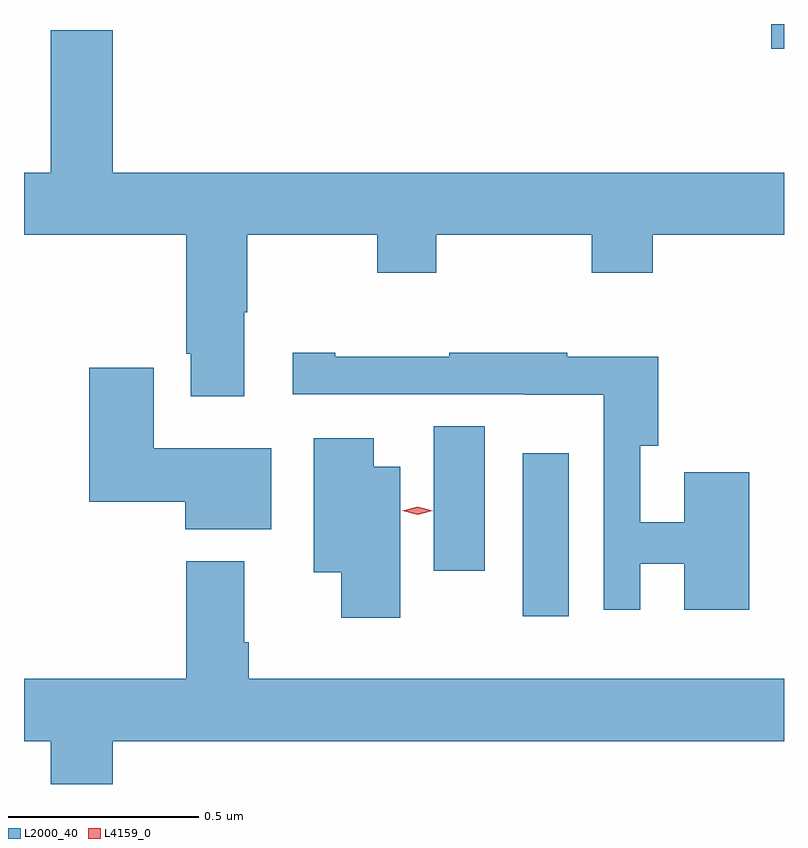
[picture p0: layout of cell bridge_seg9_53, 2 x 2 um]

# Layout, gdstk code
import gdstk
lib = gdstk.Library(unit=1e-6, precision=1e-09)
def R(c, l, rs):  # rectangles x0, y0, x1, y1
    for r in rs: c.add(gdstk.rectangle(r[:2], r[2:], *l))
def P(c, l, *ps):  # polygons
    for p in ps: c.add(gdstk.Polygon(p, *l))
L2000_40 = (2000, 40)
L4159_0 = (4159, 0)

bridge_seg9_53 = lib.new_cell('bridge_seg9_53')
R(bridge_seg9_53, L2000_40, [(1101.314,1184.76,1101.436,1185.19), (1101.08,1184.88,1101.214,1185.26), (1101.968,1186.254,1102.002,1186.319)])
P(bridge_seg9_53, L2000_40, [(1100.581,1185.56),(1100.589,1185.56),(1100.589,1185.764),(1100.932,1185.764),(1100.932,1185.665),(1101.087,1185.665),(1101.087,1185.764),(1101.496,1185.764),(1101.496,1185.665),(1101.656,1185.665),(1101.656,1185.764),(1102.002,1185.764),(1102.002,1185.928),(1100.236,1185.928),(1100.236,1186.303),(1100.072,1186.303),(1100.072,1185.928),(1100.002,1185.928),(1100.002,1185.764),(1100.429,1185.764),(1100.429,1185.451),(1100.441,1185.451),(1100.441,1185.339),(1100.581,1185.339)],
  [(1101.624,1184.898),(1101.74,1184.898),(1101.74,1184.778),(1101.911,1184.778),(1101.911,1185.139),(1101.74,1185.139),(1101.74,1185.008),(1101.624,1185.008),(1101.624,1185.209),(1101.671,1185.209),(1101.671,1185.444),(1101.431,1185.444),(1101.431,1185.454),(1101.121,1185.454),(1101.121,1185.444),(1100.821,1185.444),(1100.821,1185.454),(1100.709,1185.454),(1100.709,1185.345),(1101.318,1185.345),(1101.318,1185.344),(1101.528,1185.344),(1101.528,1184.778),(1101.624,1184.778)],
  [(1100.653,1185.202),(1100.344,1185.202),(1100.344,1185.415),(1100.174,1185.415),(1100.174,1185.062),(1100.426,1185.062),(1100.426,1184.99),(1100.653,1184.99)],
  [(1100.992,1185.154),(1100.923,1185.154),(1100.923,1185.229),(1100.765,1185.229),(1100.765,1184.876),(1100.837,1184.876),(1100.837,1184.757),(1100.992,1184.757)],
  [(1100.236,1184.432),(1102.002,1184.432),(1102.002,1184.596),(1100.594,1184.596),(1100.594,1184.692),(1100.581,1184.692),(1100.581,1184.905),(1100.429,1184.905),(1100.429,1184.596),(1100.002,1184.596),(1100.002,1184.432),(1100.072,1184.432),(1100.072,1184.319),(1100.236,1184.319)])
P(bridge_seg9_53, L4159_0, [(1101.038,1185.028),(1100.998,1185.038),(1100.998,1185.038),(1100.998,1185.038),(1101.038,1185.048),(1101.078,1185.038),(1101.078,1185.038),(1101.078,1185.038)])

lib.write_gds('bridge_seg9_53.gds')
